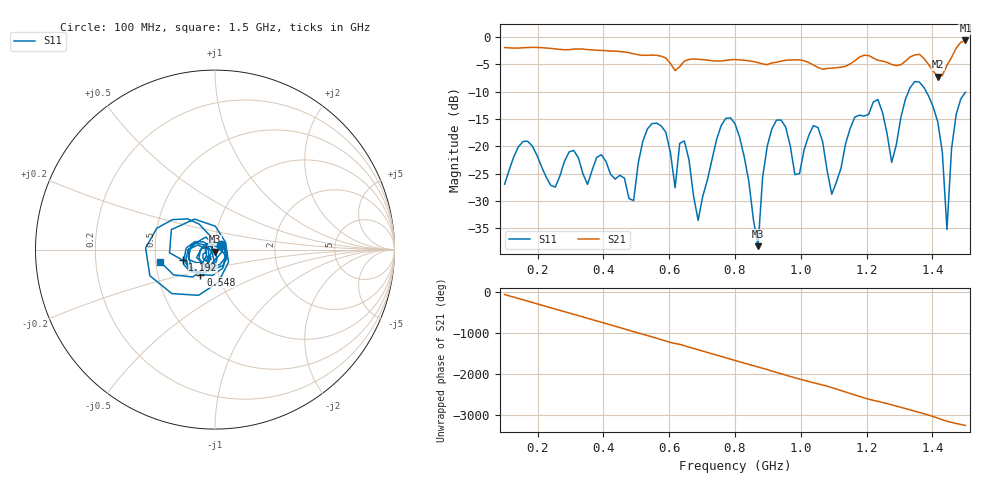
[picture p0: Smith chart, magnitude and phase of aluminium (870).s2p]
! NanoVNA-App
! Date: 2025-09-25 15:02:03
! Start: 100MHz Stop: 1,5GHz Points: 101
! S-Parameter data: F S11 S21 S12 S22
# Hz S RI R 50
!  Frequency  S11_Real  S11_Imag  S21_Real  S21_Imag  S12_Real  S12_Imag  S22_Real  S22_Imag
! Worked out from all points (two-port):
!   101 points, 100 MHz to 1.5 GHz, reference 50 ohm
!   highest |S21| = -0.63 dB at 1.5 GHz (marker M1); lowest = -7.2 dB at 1.416 GHz (marker M2)
!   |S21| within 3 dB of the highest: start of sweep to 581 MHz; 1.459 GHz to end of sweep (the widest 2 of 4)
!   lowest |S11| = -38.3 dB at 870 MHz (marker M3), VSWR 1.02, Z = 50.1 - j1.21 ohm
!   |S11| at or under -10 dB: start of sweep to 1.327 GHz; 1.381 GHz to end of sweep
!   S12 and S22 are empty: the file has one direction only
!   S11 on the Smith chart (normalised r, x): 100 MHz: 1.07, +0.06; 548 MHz: 0.82, -0.23; 1.192 GHz: 0.69, -0.08; 1.5 GHz: 0.53, -0.08
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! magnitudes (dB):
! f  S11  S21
! 100 MHz  -27.0  -1.9
! 156 MHz  -19.1  -2.0
! 338 MHz  -25.1  -2.2
! 492 MHz  -29.9  -3.1
! 548 MHz  -15.8  -3.3
! 576 MHz  -16.3  -3.5
! 618 MHz  -27.6  -6.2
! 646 MHz  -19.0  -4.4
! 688 MHz  -33.6  -4.1
! 800 MHz  -15.9  -4.1
! 870 MHz  -38.3  -4.7
! 912 MHz  -16.8  -4.7
! 982 MHz  -25.2  -4.2
! 1.038 GHz  -16.2  -5.1
! 1.094 GHz  -28.8  -5.7
! 1.192 GHz  -14.5  -3.3
! 1.276 GHz  -23.0  -5.0
! 1.346 GHz  -8.2  -3.3
! 1.416 GHz  -15.5  -7.2
! 1.444 GHz  -35.2  -5.2
! 1.458 GHz  -20.4  -3.7
! 1.5 GHz  -10.1  -0.6
